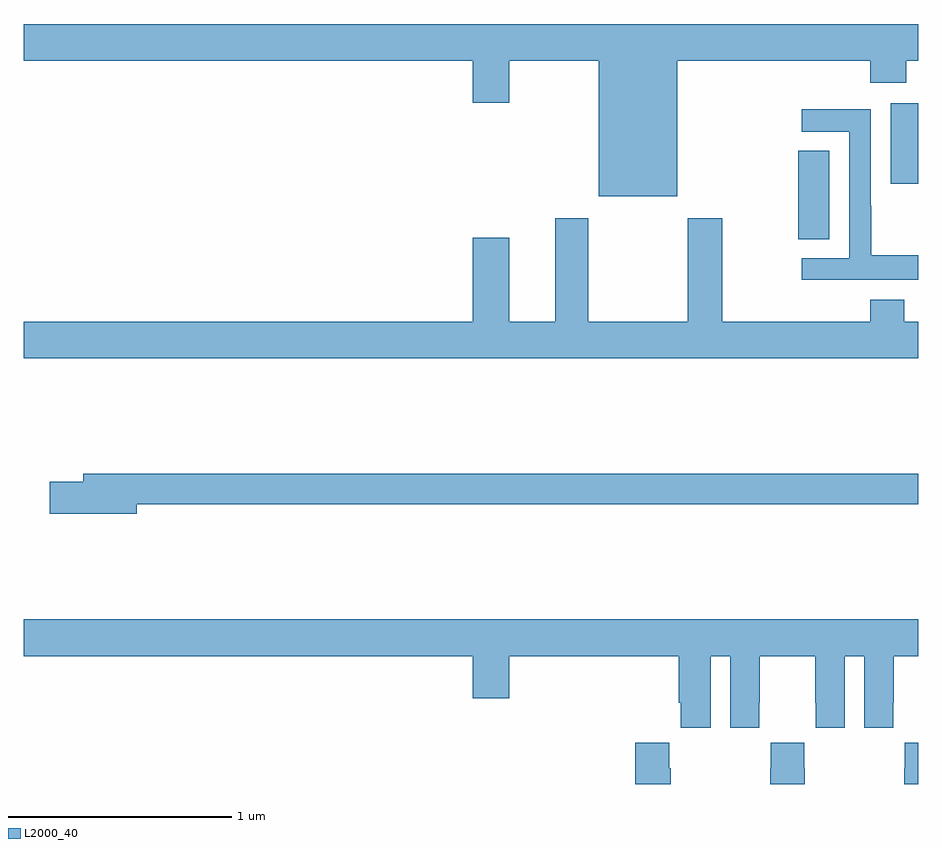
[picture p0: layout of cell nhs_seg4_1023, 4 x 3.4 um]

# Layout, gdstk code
import gdstk
lib = gdstk.Library(unit=1e-6, precision=1e-09)
def R(c, l, rs):  # rectangles x0, y0, x1, y1
    for r in rs: c.add(gdstk.rectangle(r[:2], r[2:], *l))
def P(c, l, *ps):  # polygons
    for p in ps: c.add(gdstk.Polygon(p, *l))
L2000_40 = (2000, 40)

nhs_seg4_1023 = lib.new_cell('nhs_seg4_1023')
R(nhs_seg4_1023, L2000_40, [(166.465,813.337,166.603,813.734), (166.877,813.585,167,813.946)])
P(nhs_seg4_1023, L2000_40, [(165.922,814.136),(166.787,814.136),(166.787,814.037),(166.947,814.037),(166.947,814.136),(167,814.136),(167,814.3),(163,814.3),(163,814.136),(165.008,814.136),(165.008,813.948),(165.172,813.948),(165.172,814.136),(165.572,814.136),(165.572,813.53),(165.922,813.53)],
  [(167,813.265),(166.791,813.265),(166.791,813.488),(166.788,813.488),(166.788,813.918),(166.479,813.918),(166.479,813.819),(166.692,813.819),(166.692,813.252),(166.479,813.252),(166.479,813.156),(167,813.156)],
  [(167,812.968),(166.939,812.968),(166.939,813.067),(166.787,813.067),(166.787,812.968),(166.125,812.968),(166.125,813.43),(165.97,813.43),(165.97,812.968),(165.525,812.968),(165.525,813.43),(165.377,813.43),(165.377,812.968),(165.172,812.968),(165.172,813.343),(165.008,813.343),(165.008,812.968),(163,812.968),(163,812.804),(167,812.804)],
  [(163.504,812.152),(167,812.152),(167,812.288),(163.265,812.288),(163.265,812.252),(163.116,812.252),(163.116,812.11),(163.504,812.11)],
  [(166.072,811.472),(166.16,811.472),(166.16,811.152),(166.29,811.152),(166.29,811.264),(166.291,811.264),(166.291,811.472),(166.541,811.472),(166.541,811.264),(166.542,811.264),(166.542,811.152),(166.672,811.152),(166.672,811.472),(166.76,811.472),(166.76,811.152),(166.89,811.152),(166.89,811.264),(166.891,811.264),(166.891,811.472),(167,811.472),(167,811.636),(163,811.636),(163,811.472),(165.008,811.472),(165.008,811.284),(165.172,811.284),(165.172,811.472),(165.929,811.472),(165.929,811.264),(165.938,811.264),(165.938,811.152),(166.072,811.152)],
  [(165.894,810.971),(165.887,810.971),(165.887,811.084),(165.734,811.084),(165.734,810.9),(165.894,810.9)],
  [(166.494,810.971),(166.491,810.971),(166.491,811.084),(166.341,811.084),(166.341,810.971),(166.339,810.971),(166.339,810.9),(166.494,810.9)],
  [(167,811.084),(166.941,811.084),(166.941,810.971),(166.939,810.971),(166.939,810.9),(167,810.9)])

lib.write_gds('nhs_seg4_1023.gds')
